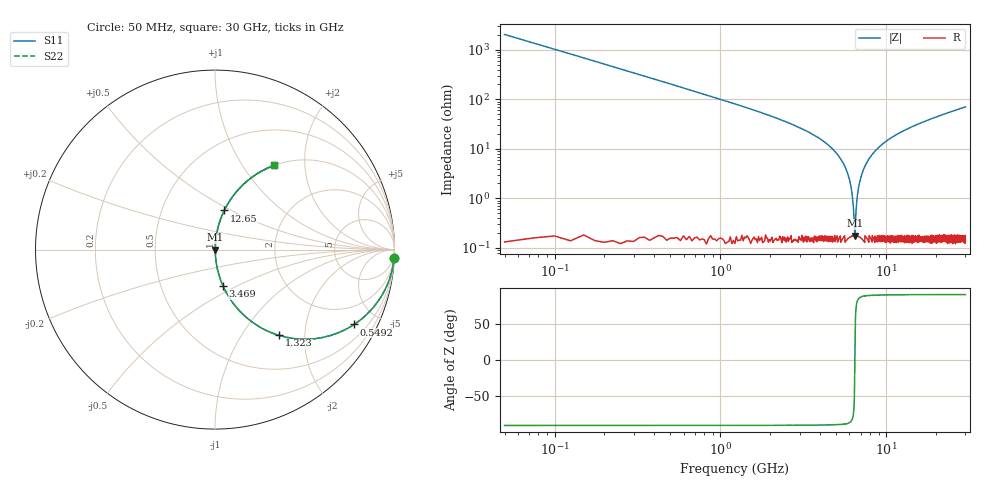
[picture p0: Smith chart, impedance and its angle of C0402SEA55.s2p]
!	AVX Thin Film Operation 	Date: April 2014
!	Description: Accu-P® Series, Thin Film  SMD RF Capacitor
!	Part Number: 04021JA55ZBSTR
# MHZ S MA R 50
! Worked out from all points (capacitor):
!   1201 points, 50 MHz to 30 GHz, reference 50 ohm
!   read as one part in series: C = 1.55 pF near 199.8 MHz
!   lowest |Z| = 177 mohm at 6.464 GHz (marker M1)
!   series resonance near 6.465 GHz, so ESL is about 390 pH
!   S11 on the Smith chart (normalised r, x): 50 MHz: 1, -41; 549.2 MHz: 1.00, -3.71; 1.323 GHz: 1.00, -1.49; 3.469 GHz: 1.00, -0.42; 12.65 GHz: 1.00, +0.46; 30 GHz: 1.00, +1.40
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50  0.999 -2.8  0.049 87.2  0.049 87.2  0.999 -2.8
299.583  0.96 -16.3  0.281 73.7  0.281 73.7  0.96 -16.3
549.167  0.88 -28.3  0.474 61.7  0.474 61.7  0.88 -28.3
1322.875  0.596 -53.3  0.802 36.6  0.802 36.6  0.596 -53.3
2171.458  0.386 -67.1  0.921 22.7  0.921 22.7  0.386 -67.1
3469.292  0.206 -77.7  0.977 11.9  0.977 11.9  0.206 -77.7
5041.667  0.079 -84.3  0.995 4.6  0.995 4.6  0.079 -84.3
5965.125  0.026 -85.1  0.998 1.5  0.998 1.5  0.026 -85.1
6164.792  0.015 -83.4  0.998 0.9  0.998 0.9  0.015 -83.4
6364.458  0.005199 -72.6  0.998 0.3  0.998 0.3  0.005199 -72.6
6464.292  0.001528 -1.2  0.998 0.0  0.998 0.0  0.001528 -1.2
6564.125  0.005064 72.2  0.998 -0.3  0.998 -0.3  0.005064 72.2
6713.875  0.012 82.0  0.998 -0.7  0.998 -0.7  0.012 82.0
6863.625  0.019 84.3  0.998 -1.1  0.998 -1.1  0.019 84.3
7412.708  0.044 85.5  0.998 -2.5  0.998 -2.5  0.044 85.5
8535.833  0.089 83.9  0.995 -5.1  0.995 -5.1  0.089 83.9
10058.29  0.143 81.2  0.988 -8.2  0.988 -8.2  0.143 81.2
12653.96  0.224 76.7  0.973 -12.9  0.973 -12.9  0.224 76.7
15025  0.288 73.0  0.956 -16.7  0.956 -16.7  0.288 73.0
20016.67  0.403 66.1  0.914 -23.7  0.914 -23.7  0.403 66.1
25033.29  0.497 60.0  0.866 -29.8  0.866 -29.8  0.497 60.0
30000  0.574 54.8  0.817 -35.1  0.817 -35.1  0.574 54.8
